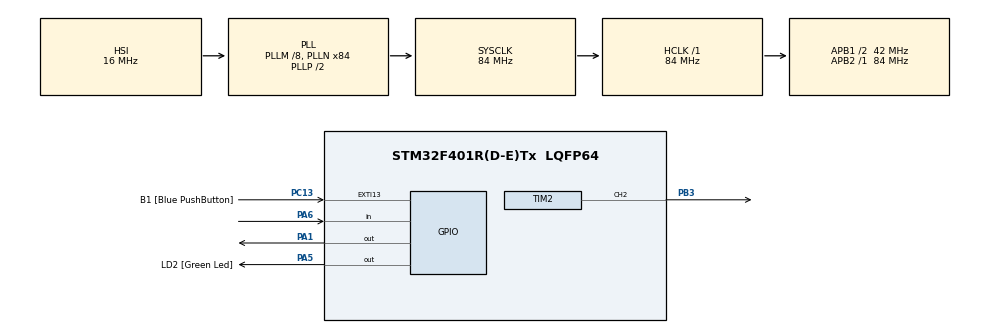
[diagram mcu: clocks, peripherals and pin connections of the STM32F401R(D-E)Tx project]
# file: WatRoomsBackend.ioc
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Mcu.Family=STM32F4
Mcu.Name=STM32F401R(D-E)Tx
Mcu.Package=LQFP64
NVIC.PriorityGroup=NVIC_PRIORITYGROUP_0
NVIC.TIM2_IRQn=true\:0\:0\:false\:false\:true\:true\:true\:true
PA1.Signal=GPIO_Output
PA13.Mode=Serial_Wire
PA13.Signal=SYS_JTMS-SWDIO
PA14.Mode=Serial_Wire
PA14.Signal=SYS_JTCK-SWCLK
PA5.GPIO_Label=LD2 [Green Led]
PA5.GPIO_Mode=GPIO_MODE_OUTPUT_PP
PA5.GPIO_PuPd=GPIO_NOPULL
PA5.GPIO_Speed=GPIO_SPEED_FREQ_LOW
PA5.Signal=GPIO_Output
PA6.Signal=GPIO_Input
PB3.Signal=S_TIM2_CH2
PC13-ANTI_TAMP.GPIO_Label=B1 [Blue PushButton]
PC13-ANTI_TAMP.GPIO_ModeDefaultEXTI=GPIO_MODE_IT_FALLING
PC13-ANTI_TAMP.GPIO_PuPd=GPIO_NOPULL
PC13-ANTI_TAMP.Signal=GPXTI13
PC14-OSC32_IN.Mode=LSE-External-Oscillator
PC14-OSC32_IN.Signal=RCC_OSC32_IN
PC15-OSC32_OUT.Mode=LSE-External-Oscillator
PC15-OSC32_OUT.Signal=RCC_OSC32_OUT
PH0\ -\ OSC_IN.Mode=HSE-External-Oscillator
PH0\ -\ OSC_IN.Signal=RCC_OSC_IN
PH1\ -\ OSC_OUT.Mode=HSE-External-Oscillator
PH1\ -\ OSC_OUT.Signal=RCC_OSC_OUT
ProjectManager.HeapSize=0x200
ProjectManager.StackSize=0x400
ProjectManager.TargetToolchain=STM32CubeIDE
RCC.48MHZClocksFreq_Value=24000000
RCC.AHBFreq_Value=84000000
RCC.APB1CLKDivider=RCC_HCLK_DIV2
RCC.APB1Freq_Value=42000000
RCC.APB1TimFreq_Value=84000000
RCC.APB2Freq_Value=84000000
RCC.APB2TimFreq_Value=84000000
RCC.CortexFreq_Value=84000000
RCC.HCLKFreq_Value=84000000
RCC.HSE_VALUE=8000000
RCC.HSI_VALUE=16000000
RCC.PLLM=8
RCC.PLLN=84
RCC.PLLQ=7
RCC.SYSCLKFreq_VALUE=84000000
RCC.SYSCLKSource=RCC_SYSCLKSOURCE_PLLCLK
RCC.VCOOutputFreq_Value=168000000
SH.S_TIM2_CH2.0=TIM2_CH2,PWM Generation2 CH2
TIM2.Channel-PWM\ Generation2\ CH2=TIM_CHANNEL_2
TIM2.Period=10000-1
TIM2.Prescaler=84-1
VP_TIM2_VS_ClockSourceINT.Mode=Internal
board=NUCLEO-F401RE

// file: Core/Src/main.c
/* USER CODE BEGIN Header */
/**
  ******************************************************************************
  * @file           : main.c
  * @brief          : Main program body
  ******************************************************************************
  * @attention
  *
  * Copyright (c) 2024 STMicroelectronics.
  * All rights reserved.
  *
  * This software is licensed under terms that can be found in the LICENSE file
  * in the root directory of this software component.
  * If no LICENSE file comes with this software, it is provided AS-IS.
  *
  ******************************************************************************
  */
/* USER CODE END Header */
#include "main.h"

/* USER CODE BEGIN Includes */
#include <stdio.h>
/* USER CODE END Includes */

TIM_HandleTypeDef htim2;

void SystemClock_Config(void);
static void MX_GPIO_Init(void);
static void MX_TIM2_Init(void);

int main(void)
{

  /* MCU Configuration--------------------------------------------------------*/

  /* Reset of all peripherals, Initializes the Flash interface and the Systick. */
  HAL_Init();

  /* Configure the system clock */
  SystemClock_Config();

  /* Initialize all configured peripherals */
  MX_GPIO_Init();
  MX_TIM2_Init();
  /* USER CODE BEGIN 2 */
  HAL_TIM_PWM_Start(&htim2, TIM_CHANNEL_2);
  /* USER CODE END 2 */

  /* Infinite loop */
  /* USER CODE BEGIN WHILE */
  while (1)
  {
	  if(HAL_GPIO_ReadPin(GPIOA, GPIO_PIN_6) == GPIO_PIN_RESET)
	  {
		  HAL_GPIO_WritePin(GPIOA, GPIO_PIN_1, 0);
	  }
	  else
	  {
		  HAL_GPIO_WritePin(GPIOA, GPIO_PIN_1, 1);
		   htim2.Instance -> CCR2 = 2400;
		   HAL_Delay(5000);
		   htim2.Instance -> CCR2 = 400;
		   HAL_Delay(1000);
	  }
	HAL_Delay(200);
    /* USER CODE END WHILE */

  }
}

void SystemClock_Config(void)
{
  RCC_OscInitTypeDef RCC_OscInitStruct = {0};
  RCC_ClkInitTypeDef RCC_ClkInitStruct = {0};

  /** Configure the main internal regulator output voltage
  */
  __HAL_RCC_PWR_CLK_ENABLE();
  __HAL_PWR_VOLTAGESCALING_CONFIG(PWR_REGULATOR_VOLTAGE_SCALE2);

  /** Initializes the RCC Oscillators according to the specified parameters
  * in the RCC_OscInitTypeDef structure.
  */
  RCC_OscInitStruct.OscillatorType = RCC_OSCILLATORTYPE_HSI;
  RCC_OscInitStruct.HSIState = RCC_HSI_ON;
  RCC_OscInitStruct.HSICalibrationValue = RCC_HSICALIBRATION_DEFAULT;
  RCC_OscInitStruct.PLL.PLLState = RCC_PLL_ON;
  RCC_OscInitStruct.PLL.PLLSource = RCC_PLLSOURCE_HSI;
  RCC_OscInitStruct.PLL.PLLM = 8;
  RCC_OscInitStruct.PLL.PLLN = 84;
  RCC_OscInitStruct.PLL.PLLP = RCC_PLLP_DIV2;
  RCC_OscInitStruct.PLL.PLLQ = 7;
  if (HAL_RCC_OscConfig(&RCC_OscInitStruct) != HAL_OK)
  {
    Error_Handler();
  }

  /** Initializes the CPU, AHB and APB buses clocks
  */
  RCC_ClkInitStruct.ClockType = RCC_CLOCKTYPE_HCLK|RCC_CLOCKTYPE_SYSCLK
                              |RCC_CLOCKTYPE_PCLK1|RCC_CLOCKTYPE_PCLK2;
  RCC_ClkInitStruct.SYSCLKSource = RCC_SYSCLKSOURCE_PLLCLK;
  RCC_ClkInitStruct.AHBCLKDivider = RCC_SYSCLK_DIV1;
  RCC_ClkInitStruct.APB1CLKDivider = RCC_HCLK_DIV2;
  RCC_ClkInitStruct.APB2CLKDivider = RCC_HCLK_DIV1;

  if (HAL_RCC_ClockConfig(&RCC_ClkInitStruct, FLASH_LATENCY_2) != HAL_OK)
  {
    Error_Handler();
  }
}

static void MX_TIM2_Init(void)
{

  TIM_ClockConfigTypeDef sClockSourceConfig = {0};
  TIM_MasterConfigTypeDef sMasterConfig = {0};
  TIM_OC_InitTypeDef sConfigOC = {0};

  htim2.Instance = TIM2;
  htim2.Init.Prescaler = 84-1;
  htim2.Init.CounterMode = TIM_COUNTERMODE_UP;
  htim2.Init.Period = 10000-1;
  htim2.Init.ClockDivision = TIM_CLOCKDIVISION_DIV1;
  htim2.Init.AutoReloadPreload = TIM_AUTORELOAD_PRELOAD_DISABLE;
  if (HAL_TIM_Base_Init(&htim2) != HAL_OK)
  {
    Error_Handler();
  }
  sClockSourceConfig.ClockSource = TIM_CLOCKSOURCE_INTERNAL;
  if (HAL_TIM_ConfigClockSource(&htim2, &sClockSourceConfig) != HAL_OK)
  {
    Error_Handler();
  }
  if (HAL_TIM_PWM_Init(&htim2) != HAL_OK)
  {
    Error_Handler();
  }
  sMasterConfig.MasterOutputTrigger = TIM_TRGO_RESET;
  sMasterConfig.MasterSlaveMode = TIM_MASTERSLAVEMODE_DISABLE;
  if (HAL_TIMEx_MasterConfigSynchronization(&htim2, &sMasterConfig) != HAL_OK)
  {
    Error_Handler();
  }
  sConfigOC.OCMode = TIM_OCMODE_PWM1;
  sConfigOC.Pulse = 0;
  sConfigOC.OCPolarity = TIM_OCPOLARITY_HIGH;
  sConfigOC.OCFastMode = TIM_OCFAST_DISABLE;
  if (HAL_TIM_PWM_ConfigChannel(&htim2, &sConfigOC, TIM_CHANNEL_2) != HAL_OK)
  {
    Error_Handler();
  }
  HAL_TIM_MspPostInit(&htim2);

}

static void MX_GPIO_Init(void)
{
  GPIO_InitTypeDef GPIO_InitStruct = {0};

  /* GPIO Ports Clock Enable */
  __HAL_RCC_GPIOC_CLK_ENABLE();
  __HAL_RCC_GPIOH_CLK_ENABLE();
  __HAL_RCC_GPIOA_CLK_ENABLE();
  __HAL_RCC_GPIOB_CLK_ENABLE();

  /*Configure GPIO pin Output Level */
  HAL_GPIO_WritePin(GPIOA, GPIO_PIN_1|LD2_Pin, GPIO_PIN_RESET);

  /*Configure GPIO pin : B1_Pin */
  GPIO_InitStruct.Pin = B1_Pin;
  GPIO_InitStruct.Mode = GPIO_MODE_IT_FALLING;
  GPIO_InitStruct.Pull = GPIO_NOPULL;
  HAL_GPIO_Init(B1_GPIO_Port, &GPIO_InitStruct);

  /*Configure GPIO pins : PA1 LD2_Pin */
  GPIO_InitStruct.Pin = GPIO_PIN_1|LD2_Pin;
  GPIO_InitStruct.Mode = GPIO_MODE_OUTPUT_PP;
  GPIO_InitStruct.Pull = GPIO_NOPULL;
  GPIO_InitStruct.Speed = GPIO_SPEED_FREQ_LOW;
  HAL_GPIO_Init(GPIOA, &GPIO_InitStruct);

  /*Configure GPIO pin : PA6 */
  GPIO_InitStruct.Pin = GPIO_PIN_6;
  GPIO_InitStruct.Mode = GPIO_MODE_INPUT;
  GPIO_InitStruct.Pull = GPIO_NOPULL;
  HAL_GPIO_Init(GPIOA, &GPIO_InitStruct);

}

/* USER CODE BEGIN 4 */
int _write(int file, char *ptr, int len)
{
  (void)file;
  int DataIdx;

  for (DataIdx = 0; DataIdx < len; DataIdx++)
  {
    ITM_SendChar(*ptr++);
  }
  return len;
}
/* USER CODE END 4 */

void Error_Handler(void)
{
  __disable_irq();
  while (1)
  {
  }
}
